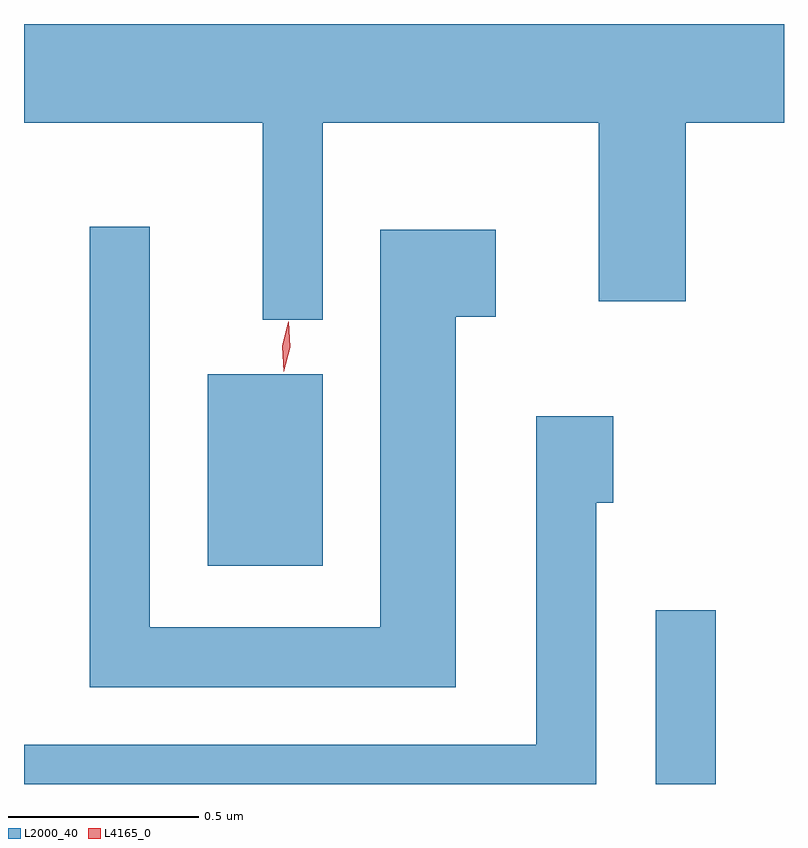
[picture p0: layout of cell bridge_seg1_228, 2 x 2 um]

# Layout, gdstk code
import gdstk
lib = gdstk.Library(unit=1e-6, precision=1e-09)
def R(c, l, rs):  # rectangles x0, y0, x1, y1
    for r in rs: c.add(gdstk.rectangle(r[:2], r[2:], *l))
def P(c, l, *ps):  # polygons
    for p in ps: c.add(gdstk.Polygon(p, *l))
L2000_40 = (2000, 40)
L4165_0 = (4165, 0)

bridge_seg1_228 = lib.new_cell('bridge_seg1_228')
R(bridge_seg1_228, L2000_40, [(724.031,857.876,724.189,858.333), (722.851,858.451,723.154,858.954)])
P(bridge_seg1_228, L2000_40, [(723.154,859.616),(723.881,859.616),(723.881,859.146),(724.109,859.146),(724.109,859.616),(724.368,859.616),(724.368,859.876),(722.368,859.876),(722.368,859.616),(722.996,859.616),(722.996,859.098),(723.154,859.098)],
  [(723.504,859.106),(723.609,859.106),(723.609,859.334),(723.306,859.334),(723.306,858.289),(722.699,858.289),(722.699,859.343),(722.541,859.343),(722.541,858.131),(723.504,858.131)],
  [(723.874,858.616),(723.919,858.616),(723.919,858.844),(723.716,858.844),(723.716,857.979),(722.368,857.979),(722.368,857.876),(723.874,857.876)])
P(bridge_seg1_228, L4165_0, [(723.051,858.961),(723.051,858.961),(723.048,859.028),(723.064,859.092),(723.064,859.093),(723.065,859.092),(723.068,859.026),(723.052,858.961)])

lib.write_gds('bridge_seg1_228.gds')
